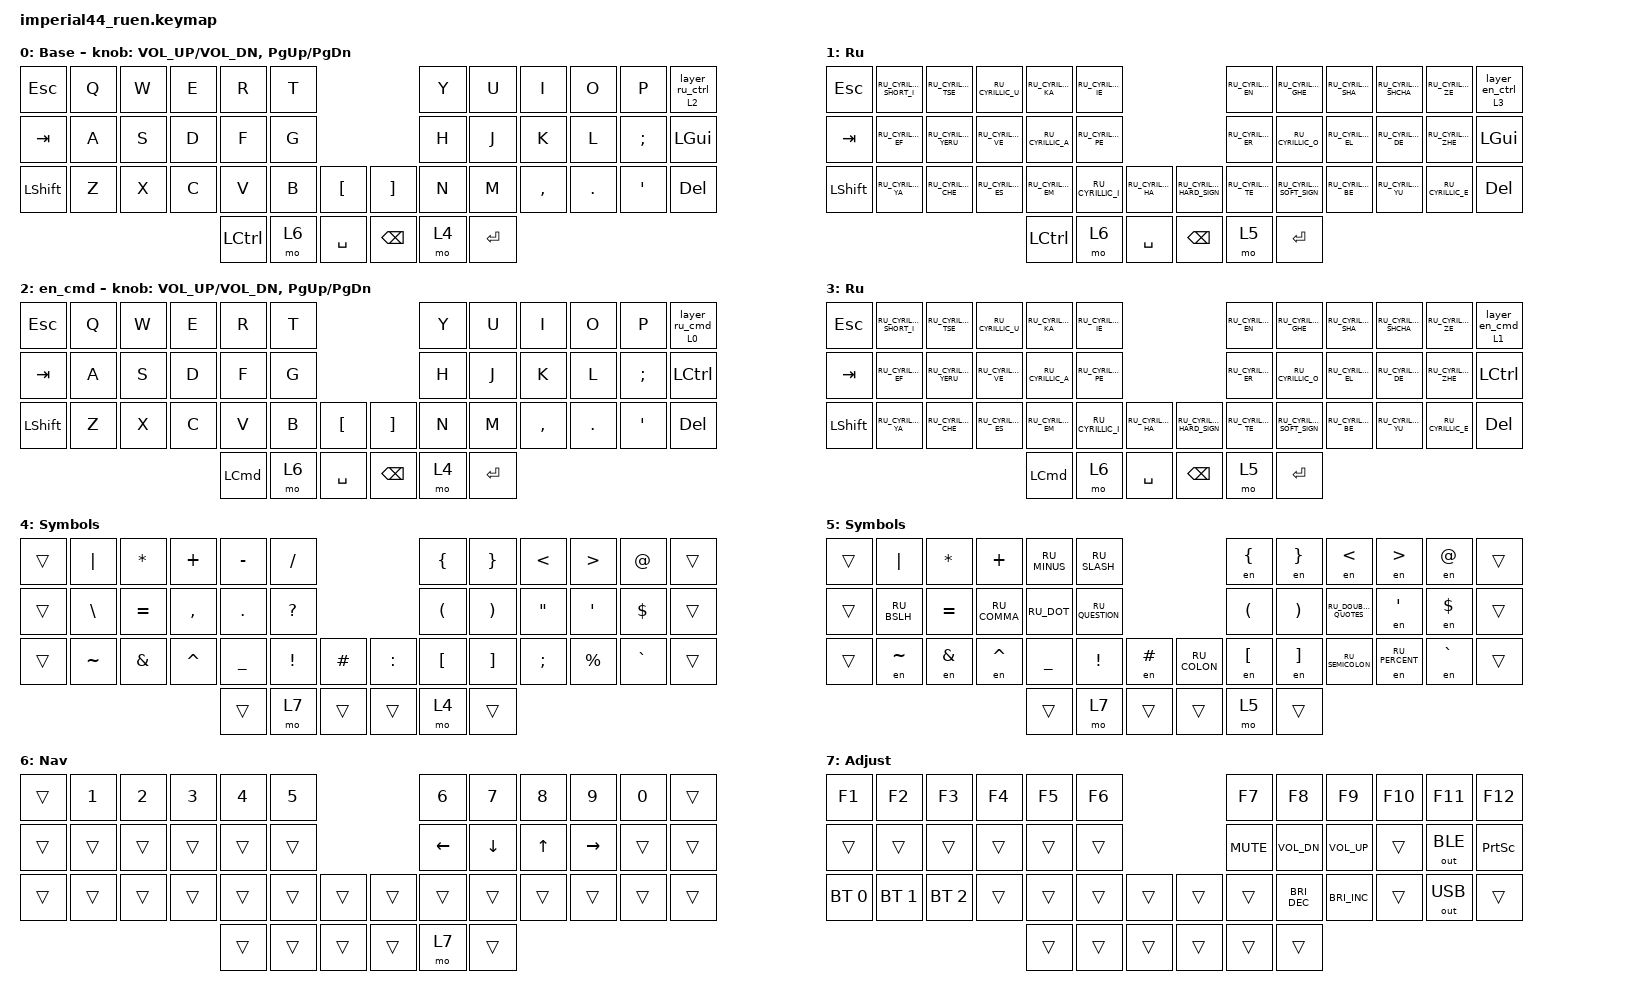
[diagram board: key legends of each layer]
#include "keys_ru.h"
#include <behaviors.dtsi>
#include <dt-bindings/zmk/bt.h>
#include <dt-bindings/zmk/keys.h>
#include <dt-bindings/zmk/outputs.h>

/ {
    combos { compatible = "zmk,combos"; };

    macros {
        to_ru: to_ru {
            compatible = "zmk,behavior-macro";
            #binding-cells = <0>;
            bindings = <&kp LS(LC(N2))>;
            label = "TO_RU";
            wait-ms = <0>;
            tap-ms = <30>;
        };

        to_en: to_en {
            compatible = "zmk,behavior-macro";
            #binding-cells = <0>;
            bindings = <&kp LS(LC(N1))>;
            label = "TO_EN";
            wait-ms = <0>;
            tap-ms = <30>;
        };

        layer_en_ctrl: layer_en {
            compatible = "zmk,behavior-macro";
            #binding-cells = <0>;
            bindings = <&to 0 &to_en>;
            label = "LAYER_EN";
            wait-ms = <0>;
            tap-ms = <30>;
        };

        layer_ru_ctrl: layer_ru {
            compatible = "zmk,behavior-macro";
            #binding-cells = <0>;
            bindings = <&to 1 &to_ru>;
            label = "LAYER_RU";
            tap-ms = <30>;
            wait-ms = <0>;
        };

        en: en {
            compatible = "zmk,behavior-macro-one-param";
            #binding-cells = <1>;
            bindings =
                <&to_en>,
                <&macro_press>,
                <&macro_param_1to1 &kp MACRO_PLACEHOLDER>,
                <&macro_pause_for_release>,
                <&macro_release>,
                <&macro_param_1to1 &kp MACRO_PLACEHOLDER>,
                <&macro_tap>,
                <&to_ru>,
                <&macro_tap>,
                <&to_ru>;

            label = "EN";
            wait-ms = <0>;
            tap-ms = <30>;
        };

        layer_en_cmd: layer_en_ctrl {
            compatible = "zmk,behavior-macro";
            #binding-cells = <0>;
            bindings = <&to 2 &to_en>;
            label = "LAYER_EN_CTRL";
            wait-ms = <0>;
            tap-ms = <30>;
        };

        layer_ru_cmd: layer_ru_cmd {
            compatible = "zmk,behavior-macro";
            #binding-cells = <0>;
            bindings = <&to 3 &to_ru>;
            label = "LAYER_RU_CMD";
            tap-ms = <30>;
            wait-ms = <0>;
        };
    };

    behaviors {
        en_sw_lang_or_ctrl: en_sw_lang_or_ctrl {
            compatible = "zmk,behavior-hold-tap";
            label = "EN_SW_LANG_OR_CTRL";
            bindings = <&to>, <&layer_en_cmd>;

            #binding-cells = <2>;
            tapping-term-ms = <2000>;
            flavor = "tap-preferred";
        };

        ru_sw_lang_or_ctrl: ru_sw_lang_or_ctrl {
            compatible = "zmk,behavior-hold-tap";
            label = "RU_SW_LANG_OR_CTRL";
            bindings = <&to>, <&layer_ru_cmd>;

            #binding-cells = <2>;
            tapping-term-ms = <2000>;
            flavor = "tap-preferred";
        };

        en_sw_lang_or_cmd: en_sw_lang_or_cmd {
            compatible = "zmk,behavior-hold-tap";
            label = "EN_SW_LANG_OR_CMD";
            bindings = <&to>, <&layer_en_ctrl>;

            #binding-cells = <2>;
            tapping-term-ms = <2000>;
            flavor = "tap-preferred";
        };

        ru_sw_lang_or_cmd: ru_sw_lang_or_cmd {
            compatible = "zmk,behavior-hold-tap";
            label = "RU_SW_LANG_OR_CMD";
            bindings = <&to>, <&layer_ru_ctrl>;

            #binding-cells = <2>;
            tapping-term-ms = <2000>;
            flavor = "tap-preferred";
        };
    };

    keymap {
        compatible = "zmk,keymap";

        en {
            bindings = <
&kp ESC    &kp Q  &kp W  &kp E  &kp R      &kp T                              &kp Y  &kp U      &kp I      &kp O    &kp P     &ru_sw_lang_or_cmd 2 0
&kp TAB    &kp A  &kp S  &kp D  &kp F      &kp G                              &kp H  &kp J      &kp K      &kp L    &kp SEMI  &kp LGUI
&kp LSHFT  &kp Z  &kp X  &kp C  &kp V      &kp B  &kp LBKT     &kp RBKT       &kp N  &kp M      &kp COMMA  &kp DOT  &kp SQT   &kp DELETE
                                &kp LCTRL  &mo 6  &kp SPACE    &kp BACKSPACE  &mo 4  &kp ENTER
            >;

            display-name = "Base";
            sensor-bindings =
                <&inc_dec_kp C_VOL_UP C_VOL_DN>,
                <&inc_dec_kp PG_UP PG_DN>;
        };

        ru {
            display-name = "Ru";
            bindings = <
&kp ESC    &kp RU_CYRILLIC_SHORT_I  &kp RU_CYRILLIC_TSE   &kp RU_CYRILLIC_U   &kp RU_CYRILLIC_KA  &kp RU_CYRILLIC_IE                                                   &kp RU_CYRILLIC_EN  &kp RU_CYRILLIC_GHE        &kp RU_CYRILLIC_SHA  &kp RU_CYRILLIC_SHCHA  &kp RU_CYRILLIC_ZE   &en_sw_lang_or_cmd 3 0
&kp TAB    &kp RU_CYRILLIC_EF       &kp RU_CYRILLIC_YERU  &kp RU_CYRILLIC_VE  &kp RU_CYRILLIC_A   &kp RU_CYRILLIC_PE                                                   &kp RU_CYRILLIC_ER  &kp RU_CYRILLIC_O          &kp RU_CYRILLIC_EL   &kp RU_CYRILLIC_DE     &kp RU_CYRILLIC_ZHE  &kp LGUI
&kp LSHFT  &kp RU_CYRILLIC_YA       &kp RU_CYRILLIC_CHE   &kp RU_CYRILLIC_ES  &kp RU_CYRILLIC_EM  &kp RU_CYRILLIC_I   &kp RU_CYRILLIC_HA    &kp RU_CYRILLIC_HARD_SIGN  &kp RU_CYRILLIC_TE  &kp RU_CYRILLIC_SOFT_SIGN  &kp RU_CYRILLIC_BE   &kp RU_CYRILLIC_YU     &kp RU_CYRILLIC_E    &kp DELETE
                                                                              &kp LCTRL           &mo 6               &kp SPACE             &kp BACKSPACE              &mo 5               &kp ENTER
            >;
        };

        en_cmd {
            display-name = "en_cmd";
            bindings = <
&kp ESC    &kp Q  &kp W  &kp E  &kp R             &kp T                              &kp Y  &kp U      &kp I      &kp O    &kp P     &ru_sw_lang_or_ctrl 0 0
&kp TAB    &kp A  &kp S  &kp D  &kp F             &kp G                              &kp H  &kp J      &kp K      &kp L    &kp SEMI  &kp LEFT_CONTROL
&kp LSHFT  &kp Z  &kp X  &kp C  &kp V             &kp B  &kp LBKT     &kp RBKT       &kp N  &kp M      &kp COMMA  &kp DOT  &kp SQT   &kp DELETE
                                &kp LEFT_COMMAND  &mo 6  &kp SPACE    &kp BACKSPACE  &mo 4  &kp ENTER
            >;

            sensor-bindings =
                <&inc_dec_kp C_VOL_UP C_VOL_DN>,
                <&inc_dec_kp PG_UP PG_DN>;
        };

        ru_cmd {
            display-name = "Ru";
            bindings = <
&kp ESC    &kp RU_CYRILLIC_SHORT_I  &kp RU_CYRILLIC_TSE   &kp RU_CYRILLIC_U   &kp RU_CYRILLIC_KA  &kp RU_CYRILLIC_IE                                                   &kp RU_CYRILLIC_EN  &kp RU_CYRILLIC_GHE        &kp RU_CYRILLIC_SHA  &kp RU_CYRILLIC_SHCHA  &kp RU_CYRILLIC_ZE   &en_sw_lang_or_ctrl 1 0
&kp TAB    &kp RU_CYRILLIC_EF       &kp RU_CYRILLIC_YERU  &kp RU_CYRILLIC_VE  &kp RU_CYRILLIC_A   &kp RU_CYRILLIC_PE                                                   &kp RU_CYRILLIC_ER  &kp RU_CYRILLIC_O          &kp RU_CYRILLIC_EL   &kp RU_CYRILLIC_DE     &kp RU_CYRILLIC_ZHE  &kp LEFT_CONTROL
&kp LSHFT  &kp RU_CYRILLIC_YA       &kp RU_CYRILLIC_CHE   &kp RU_CYRILLIC_ES  &kp RU_CYRILLIC_EM  &kp RU_CYRILLIC_I   &kp RU_CYRILLIC_HA    &kp RU_CYRILLIC_HARD_SIGN  &kp RU_CYRILLIC_TE  &kp RU_CYRILLIC_SOFT_SIGN  &kp RU_CYRILLIC_BE   &kp RU_CYRILLIC_YU     &kp RU_CYRILLIC_E    &kp DELETE
                                                                              &kp LEFT_COMMAND    &mo 6               &kp SPACE             &kp BACKSPACE              &mo 5               &kp ENTER
            >;
        };

        sym_en {
            bindings = <
&trans  &kp PIPE   &kp STAR       &kp PLUS   &kp MINUS       &kp SLASH                               &kp LEFT_BRACE        &kp RIGHT_BRACE        &kp LESS_THAN      &kp GREATER_THAN  &kp AT      &trans
&trans  &kp BSLH   &kp EQUAL      &kp COMMA  &kp DOT         &kp QUESTION                            &kp LEFT_PARENTHESIS  &kp RIGHT_PARENTHESIS  &kp DOUBLE_QUOTES  &kp SINGLE_QUOTE  &kp DOLLAR  &trans
&trans  &kp TILDE  &kp AMPERSAND  &kp CARET  &kp UNDERSCORE  &kp EXCLAMATION  &kp HASH    &kp COLON  &kp LEFT_BRACKET      &kp RIGHT_BRACKET      &kp SEMICOLON      &kp PERCENT       &kp GRAVE   &trans
                                             &trans          &mo 7            &trans      &trans     &mo 4                 &trans
            >;

            display-name = "Symbols";
        };

        sym_ru {
            display-name = "Symbols";
            bindings = <
&trans  &kp PIPE     &kp STAR       &kp PLUS      &kp RU_MINUS    &kp RU_SLASH                               &en LEFT_BRACE        &en RIGHT_BRACE        &en LESS_THAN         &en GREATER_THAN  &en AT      &trans
&trans  &kp RU_BSLH  &kp EQUAL      &kp RU_COMMA  &kp RU_DOT      &kp RU_QUESTION                            &kp LEFT_PARENTHESIS  &kp RIGHT_PARENTHESIS  &kp RU_DOUBLE_QUOTES  &en SINGLE_QUOTE  &en DOLLAR  &trans
&trans  &en TILDE    &en AMPERSAND  &en CARET     &kp UNDERSCORE  &kp EXCLAMATION  &en HASH    &kp RU_COLON  &en LEFT_BRACKET      &en RIGHT_BRACKET      &kp RU_SEMICOLON      &en RU_PERCENT    &en GRAVE   &trans
                                                  &trans          &mo 7            &trans      &trans        &mo 5                 &trans
            >;
        };

        nav {
            bindings = <
&trans  &kp N1  &kp NUMBER_2  &kp NUMBER_3  &kp NUMBER_4  &kp NUMBER_5                    &kp N6    &kp N7    &kp N8  &kp N9           &kp N0  &trans
&trans  &trans  &trans        &trans        &trans        &trans                          &kp LEFT  &kp DOWN  &kp UP  &kp RIGHT_ARROW  &trans  &trans
&trans  &trans  &trans        &trans        &trans        &trans        &trans    &trans  &trans    &trans    &trans  &trans           &trans  &trans
                                            &trans        &trans        &trans    &trans  &mo 7     &trans
            >;

            display-name = "Nav";
        };

        adj {
            bindings = <
&kp F1        &kp F2        &kp F3        &kp F4  &kp F5  &kp F6                    &kp F7      &kp F8                &kp F9                &kp F10  &kp F11       &kp F12
&trans        &trans        &trans        &trans  &trans  &trans                    &kp C_MUTE  &kp C_VOL_DN          &kp C_VOLUME_UP       &trans   &out OUT_BLE  &kp PRINTSCREEN
&bt BT_SEL 0  &bt BT_SEL 1  &bt BT_SEL 2  &trans  &trans  &trans  &trans    &trans  &trans      &kp C_BRIGHTNESS_DEC  &kp C_BRIGHTNESS_INC  &trans   &out OUT_USB  &trans
                                                  &trans  &trans  &trans    &trans  &trans      &trans
            >;

            display-name = "Adjust";
        };
    };
};
